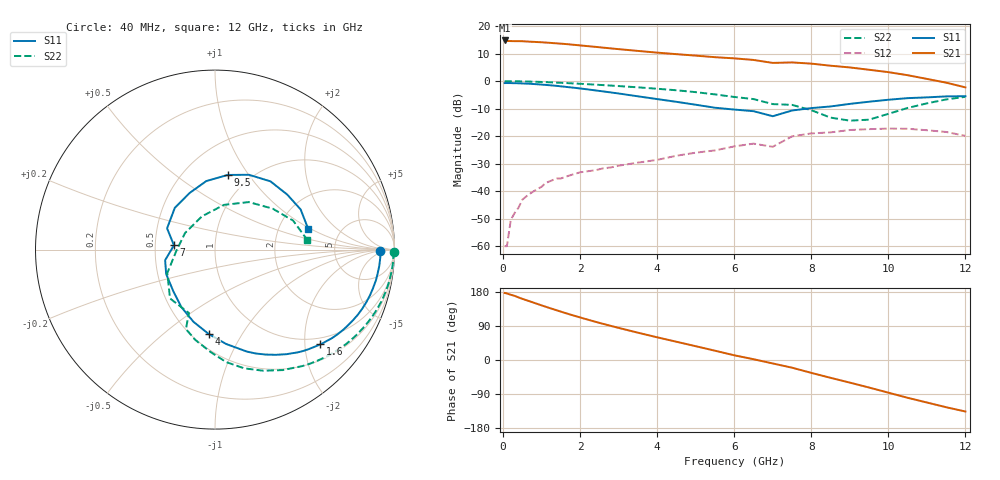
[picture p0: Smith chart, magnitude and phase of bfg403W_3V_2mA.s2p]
! Filename: 32bfg403.001
! BFG403W Field A1
! V1=8.628E-001V,V2=3.000E+000V, I1=2.637E-005A, I2=2.000E-003A
# GHz  S  MA  R 50
!  S11  S21  S12  S22
!Freq(GHz)  Mag  Ang  Mag  Ang  Mag  Ang  Mag  Ang
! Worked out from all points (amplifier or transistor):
!   44 points, 40 MHz to 12 GHz, reference 50 ohm
!   highest |S21| = 14.8 dB at 40 MHz (marker M1)
!   |S21| within 3 dB of that: start of sweep to 2.883 GHz
!   unconditionally stable (mu >= 1): 2.706 GHz to end of sweep
!   at 700 MHz: K = 0.22, MSG = 27.6 dB, |S12| = -40.9 dB
!   at 2.4 GHz: K = 0.86, MSG = 22.4 dB, |S12| = -32.4 dB
!   at 12 GHz: K = 3.44, MAG = 0.5 dB, |S12| = -19.9 dB
!   S11 on the Smith chart (normalised r, x): 40 MHz: 24, -3; 1.6 GHz: 0.84, -2.35; 4 GHz: 0.60, -0.73; 7 GHz: 0.63, +0.03; 9.5 GHz: 0.79, +0.80; 12 GHz: 2.94, +0.94
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0.04  0.92 -0.6  5.477 176.9  0.001 25.9  0.995 -0.7
0.1  0.922 -2.7  5.363 175.6  0.001 93.6  0.995 -1.9
0.2  0.92 -5.5  5.34 172.1  0.003 85.8  0.994 -3.9
0.5  0.906 -13.9  5.306 161.4  0.007 78.7  0.987 -9.9
1  0.864 -27.1  5.074 144.1  0.012 70.4  0.964 -19.5
1.6  0.79 -41.9  4.73 124.5  0.018 61.7  0.924 -30.2
2.2  0.706 -55.6  4.319 106.4  0.023 55.2  0.878 -40.3
3  0.595 -72.7  3.809 84.7  0.029 50.3  0.812 -53.0
3.5  0.529 -83.4  3.535 72.1  0.033 48.2  0.77 -60.7
4  0.471 -94.4  3.291 59.9  0.037 46.2  0.726 -68.3
4.5  0.42 -106.5  3.087 48.2  0.044 43.4  0.681 -76.2
5.5  0.328 -135.2  2.719 24.5  0.055 34.3  0.573 -92.2
6  0.304 -153.5  2.59 12.4  0.065 26.6  0.515 -102.3
6.5  0.284 -168.0  2.423 2.1  0.073 26.4  0.471 -110.1
7  0.23 174.0  2.14 -9.1  0.064 25.9  0.382 -112.3
7.5  0.292 156.1  2.184 -20.3  0.099 15.5  0.37 -132.7
8  0.323 133.9  2.077 -34.0  0.112 1.4  0.296 -153.8
8.5  0.346 114.0  1.903 -47.0  0.117 -10.4  0.217 -177.2
9.5  0.422 80.3  1.607 -72.7  0.134 -35.1  0.199 111.5
10.5  0.49 50.9  1.28 -99.7  0.136 -63.1  0.325 54.5
11.5  0.527 25.1  0.937 -124.6  0.119 -92.3  0.464 20.4
12  0.532 12.5  0.769 -136.0  0.101 -109.7  0.518 5.8
